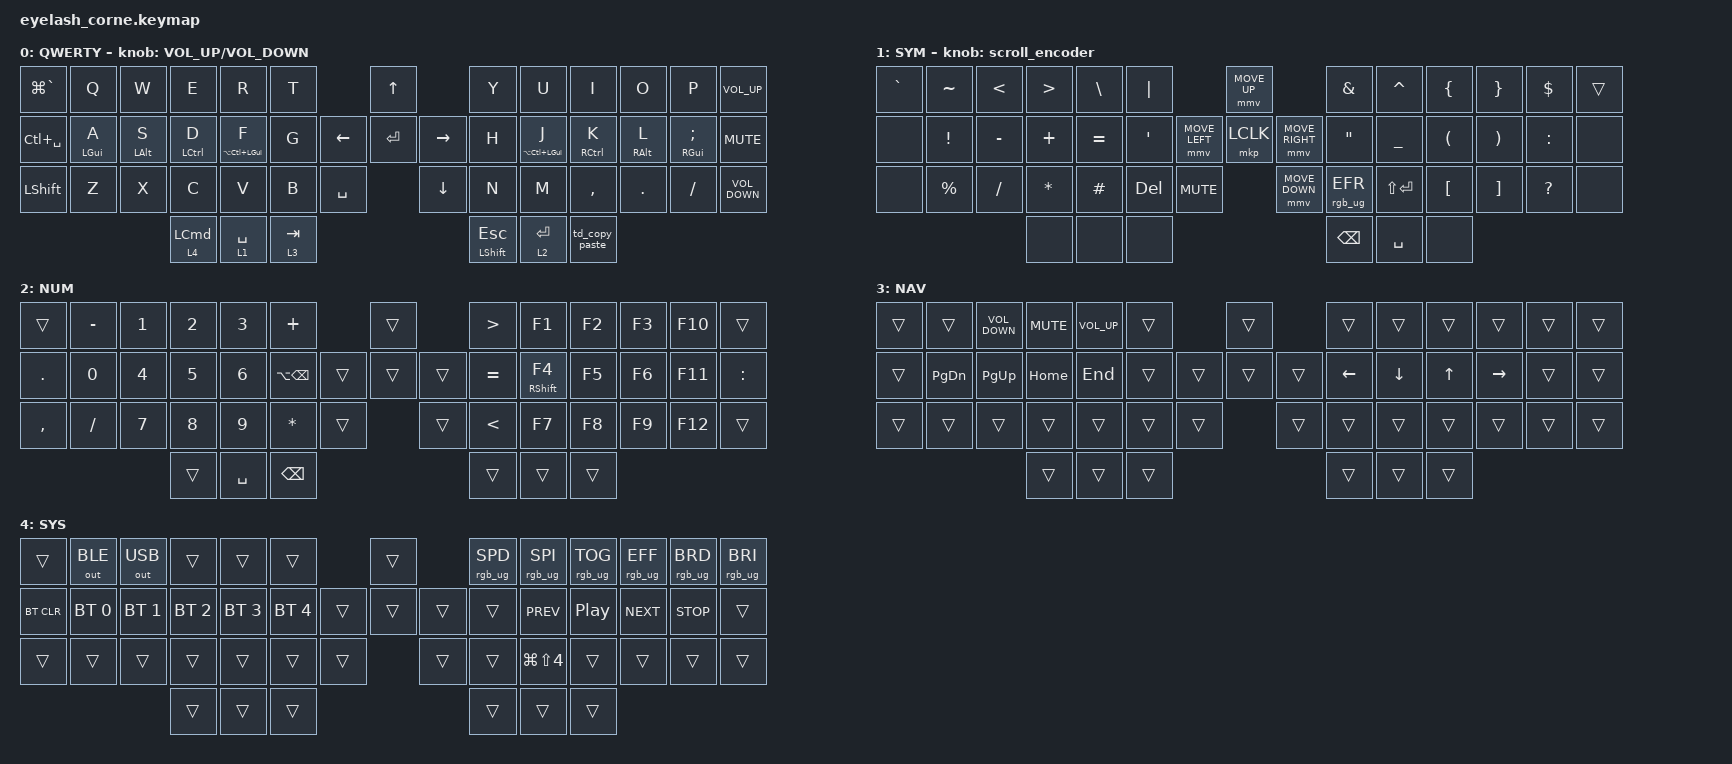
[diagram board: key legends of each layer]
#define ZMK_POINTING_DEFAULT_MOVE_VAL 1200  // 600
#define ZMK_POINTING_DEFAULT_SCRL_VAL 20   // 10

#include <input/processors.dtsi>
#include <zephyr/dt-bindings/input/input-event-codes.h>
#include <behaviors.dtsi>
#include <dt-bindings/zmk/bt.h>
#include <dt-bindings/zmk/keys.h>
#include <dt-bindings/zmk/outputs.h>
#include <dt-bindings/zmk/pointing.h>
#include <dt-bindings/zmk/rgb.h>

&mmv_input_listener { input-processors = <&zip_xy_scaler 2 1>; };

&msc_input_listener { input-processors = <&zip_scroll_scaler 2 1>; };

&msc {
    acceleration-exponent = <1>;      // 0
    time-to-max-speed-ms = <100>;       // 300
    delay-ms = <0>;                   // 0
};

&mmv {
    time-to-max-speed-ms = <500>;
    acceleration-exponent = <1>;
    trigger-period-ms = <16>;
};

&soft_off { hold-time-ms = <2000>; };

/ {
    behaviors {
        td_copy_paste: td_copy_paste {
            compatible = "zmk,behavior-tap-dance";
            label = "TD_COPY_PASTE";
            #binding-cells = <0>;
            bindings = <&kp RG(C)>, <&kp RG(V)>;
        };
    };

    rgb_encoder: rgb_encoder {
        compatible = "zmk,behavior-sensor-rotate";
        #sensor-binding-cells = <0>;
        bindings = <&rgb_ug RGB_BRI>, <&rgb_ug RGB_BRD>;
    };

    scroll_encoder: scroll_encoder {
        compatible = "zmk,behavior-sensor-rotate";
        #sensor-binding-cells = <0>;
        bindings = <&msc SCRL_DOWN>, <&msc SCRL_UP>;

        tap-ms = <100>;
    };

    hmr: hmr {
        compatible = "zmk,behavior-hold-tap";
        label = "HMR";
        bindings = <&kp>, <&kp>;

        #binding-cells = <2>;
        flavor = "balanced";
        tapping-term-ms = <280>;
        quick-tap-ms = <175>;
        require-prior-idle-ms = <150>;
        hold-trigger-on-release;
        hold-trigger-key-positions = <46 45 44 42 31 18 5 4 3 2 1 0 13 14 15 29 16 17 30 28 47 43 33 32>;
    };

    hml: hml {
        compatible = "zmk,behavior-hold-tap";
        label = "HML";
        bindings = <&kp>, <&kp>;

        #binding-cells = <2>;
        flavor = "balanced";
        tapping-term-ms = <280>;
        quick-tap-ms = <175>;
        require-prior-idle-ms = <150>;
        hold-trigger-on-release;
        hold-trigger-key-positions = <46 45 44 42 41 40 7 8 9 22 36 23 10 11 24 37 38 25 12 43 47 39 26 27>;
    };

    combos {
        compatible = "zmk,combos";

        softoff {
            bindings = <&soft_off>;
            key-positions = <1 15 29>;
        };

        ty_caps {
            bindings = <&caps_word>;
            key-positions = <5 7>;
        };
    };

    keymap {
        compatible = "zmk,keymap";

        default_layer {
            display-name = "QWERTY";
            bindings = <
&kp LG(GRAVE)  &kp Q        &kp W        &kp E               &kp R                &kp T                             &kp UP                &kp Y               &kp U                &kp I           &kp O        &kp P           &kp C_VOLUME_UP
&kp LC(SPACE)  &hml LGUI A  &hml LALT S  &hml LCTRL D        &hml LA(LC(LGUI)) F  &kp G                   &kp LEFT  &kp ENTER  &kp RIGHT  &kp H               &hmr LA(LC(LGUI)) J  &hmr RCTRL K    &hmr RALT L  &hmr RGUI SEMI  &kp C_MUTE
&kp LSHIFT     &kp Z        &kp X        &kp C               &kp V                &kp B      &kp SPACE              &kp DOWN              &kp N               &kp M                &kp COMMA       &kp DOT      &kp FSLH        &kp C_VOLUME_DOWN
                                         &lt 4 LEFT_COMMAND  &lt 1 SPACE          &lt 3 TAB                                               &mt LEFT_SHIFT ESC  &lt 2 RET            &td_copy_paste
            >;

            sensor-bindings = <&inc_dec_kp C_VOLUME_UP C_VOLUME_DOWN>;
            label = "QWERTY";
        };

        symbols_layer {
            bindings = <
&kp GRAVE  &kp TILDE  &kp LT     &kp GT     &kp BSLH   &kp PIPE                                &mmv MOVE_UP                     &kp AMPS         &kp CARET    &kp LBRC  &kp RBRC  &kp DLLR   &trans
&none      &kp EXCL   &kp MINUS  &kp PLUS   &kp EQUAL  &kp SQT                 &mmv MOVE_LEFT  &mkp LCLK       &mmv MOVE_RIGHT  &kp DQT          &kp UNDER    &kp LPAR  &kp RPAR  &kp COLON  &none
&none      &kp PRCNT  &kp SLASH  &kp ASTRK  &kp HASH   &kp DEL   &kp C_MUTE                    &mmv MOVE_DOWN                   &rgb_ug RGB_EFR  &kp LS(RET)  &kp LBKT  &kp RBKT  &kp QMARK  &none
                                 &none      &none      &none                                                                    &kp BACKSPACE    &kp SPACE    &none
            >;

            sensor-bindings = <&scroll_encoder>;
            label = "SYM";
        };

        numbers_layer {
            bindings = <
&trans     &kp MINUS  &kp N1  &kp N2  &kp N3     &kp PLUS                        &trans          &kp GREATER_THAN  &kp F1          &kp F2  &kp F3  &kp F10  &trans
&kp DOT    &kp N0     &kp N4  &kp N5  &kp N6     &kp LA(BSPC)            &trans  &trans  &trans  &kp EQUAL         &hmr RSHIFT F4  &kp F5  &kp F6  &kp F11  &kp COLON
&kp COMMA  &kp FSLH   &kp N7  &kp N8  &kp N9     &kp ASTERISK  &trans            &trans          &kp LESS_THAN     &kp F7          &kp F8  &kp F9  &kp F12  &trans
                              &trans  &kp SPACE  &kp BSPC                                        &trans            &trans          &trans
            >;

            label = "NUM";
        };

        navigation_layer {
            bindings = <
&trans  &trans     &kp C_VOLUME_DOWN  &kp C_MUTE  &kp C_VOLUME_UP  &trans                    &trans          &trans    &trans    &trans  &trans     &trans  &trans
&trans  &kp PG_DN  &kp PG_UP          &kp HOME    &kp END          &trans            &trans  &trans  &trans  &kp LEFT  &kp DOWN  &kp UP  &kp RIGHT  &trans  &trans
&trans  &trans     &trans             &trans      &trans           &trans  &trans            &trans          &trans    &trans    &trans  &trans     &trans  &trans
                                      &trans      &trans           &trans                                    &trans    &trans    &trans
            >;

            label = "NAV";
        };

        system_layer {
            bindings = <
&trans      &out OUT_BLE  &out OUT_USB  &trans        &trans        &trans                          &trans          &rgb_ug RGB_SPD  &rgb_ug RGB_SPI       &rgb_ug RGB_TOG  &rgb_ug RGB_EFF  &rgb_ug RGB_BRD  &rgb_ug RGB_BRI
&bt BT_CLR  &bt BT_SEL 0  &bt BT_SEL 1  &bt BT_SEL 2  &bt BT_SEL 3  &bt BT_SEL 4            &trans  &trans  &trans  &trans           &kp C_PREV            &kp C_PP         &kp C_NEXT       &kp C_STOP       &trans
&trans      &trans        &trans        &trans        &trans        &trans        &trans            &trans          &trans           &kp LG(LS(NUMBER_4))  &trans           &trans           &trans           &trans
                                        &trans        &trans        &trans                                          &trans           &trans                &trans
            >;

            label = "SYS";
        };
    };
};
